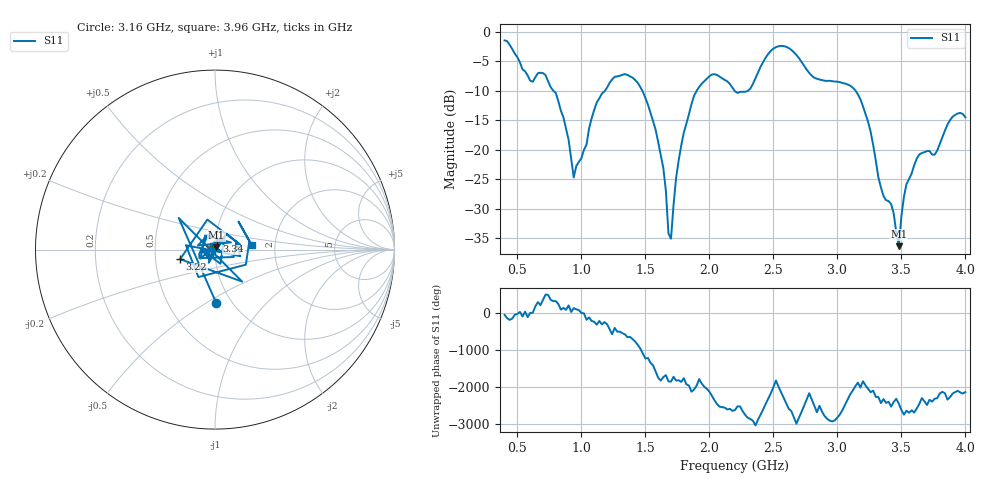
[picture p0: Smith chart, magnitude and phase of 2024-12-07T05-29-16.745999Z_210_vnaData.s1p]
!Created with skrf (http://scikit-rf.org).
# Hz S RI R 50.0
!freq ReS11 ImS11
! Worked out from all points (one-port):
!   181 points, 400 MHz to 4 GHz, reference 50 ohm
!   lowest |S11| = -36.3 dB at 3.48 GHz (marker M1), VSWR 1.03, Z = 50.7 + j1.35 ohm
!   |S11| at or under -10 dB: 782.4 MHz to 1.182 GHz (400.1 MHz wide, 40.7 % of centre); 1.477 GHz to 1.9 GHz (422.7 MHz wide, 25 % of centre); 3.143 GHz to end of sweep (the widest 3 of 4)
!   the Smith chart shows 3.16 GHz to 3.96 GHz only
!   S11 on the Smith chart (normalised r, x): 3.16 GHz: 0.85, -0.55; 3.22 GHz: 0.67, -0.07; 3.34 GHz: 1.02, +0.10; 3.96 GHz: 1.51, +0.07
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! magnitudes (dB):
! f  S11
! 400 MHz  -1.4
! 600 MHz  -8.3
! 720 MHz  -7.3
! 860 MHz  -14.5
! 940 MHz  -24.7
! 1.12 GHz  -11.9
! 1.3 GHz  -7.4
! 1.52 GHz  -12.3
! 1.64 GHz  -23.1
! 1.68 GHz  -34.2
! 1.7 GHz  -35.1
! 1.76 GHz  -21.8
! 1.86 GHz  -12.2
! 1.94 GHz  -8.8
! 2.2 GHz  -10.1
! 2.32 GHz  -9.6
! 2.5 GHz  -2.8
! 2.66 GHz  -3.4
! 3.1 GHz  -9.1
! 3.16 GHz  -10.6
! 3.22 GHz  -13.9
! 3.34 GHz  -26.3
! 3.42 GHz  -29.2
! 3.48 GHz  -36.3
! 3.52 GHz  -27.9
! 3.56 GHz  -24.9
! 3.96 GHz  -13.7
! 4 GHz  -14.5
